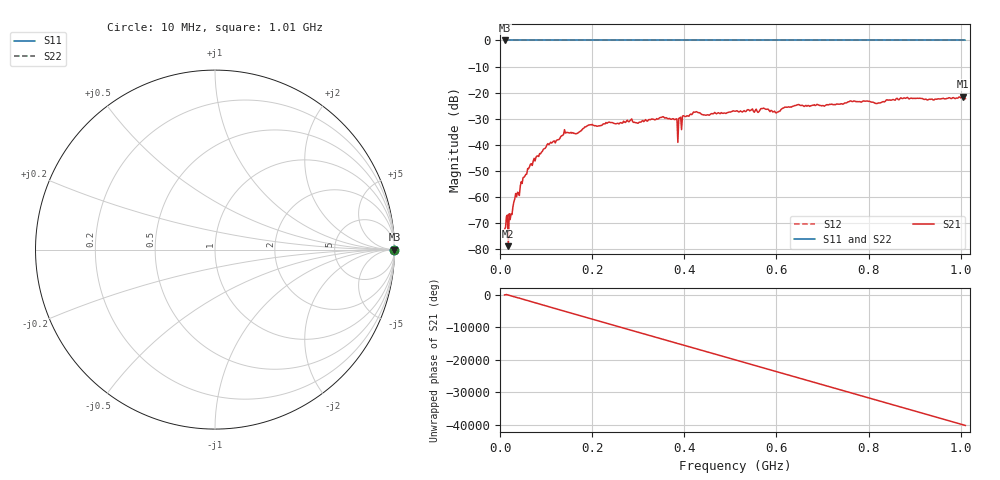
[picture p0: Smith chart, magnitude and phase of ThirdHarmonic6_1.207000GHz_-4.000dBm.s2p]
! 8/16/2025 12:32:34 PM
! C:\ANRITSUVNA\TEMP\TEMP.S2P
! CHANNEL.1
! TR.MEASUREMENT
! RAW.DATA
! RF.CORRECTION.OFF
! AVERAGING.OFF
! IF.BANDWIDTH: 5KHZ
! SWEEPTYPE:  FREQ.SWEEP(Linear)
! Reference Plane Port Info
! PORT:  PORT1  PORT2
! DISTANCE:  0  m  0  m
! TIME:  0  s  0  s
! PHASE.OFFSET:  0  deg.  0  deg.
! LOSS:  0  dB  0  dB
! REF.LOSS:  0  dB  0  dB
! REF.FREQ:  0  Hz  0  Hz
! Power Info
! POWER:  -20  dBm  -20  dBm
! EFF.POWER:  -20  dBm  -20  dBm
! SOURCE.ATTEN:  0  dB  0  dB
! TEST.ATTEN:  0  dB  0  dB
# GHZ S RI R 50.0
! FREQ.GHZ  S11RE  S11IM  S21RE  S21IM  S12RE  S12IM  S22RE  S22IM
!; PortSelection: Port_12
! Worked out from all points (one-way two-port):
!   501 points, 10 MHz to 1.01 GHz, reference 50 ohm
!   highest |S21| = -21.50 dB at 1.004 GHz (marker M1); lowest = -78.8 dB at 18 MHz (marker M2)
!   lowest |S11| = 0.0 dB at 10 MHz (marker M3)
!   |S11| at or under -10 dB: nowhere
!   |S22| runs from 0.0 to 0.0 dB; largest |S21 - S12| = 1.1
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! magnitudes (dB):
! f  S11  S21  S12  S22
! 10 MHz  0.0  -72.4  0.0  0.0
! 18 MHz  0.0  -78.8  0.0  0.0
! 22 MHz  0.0  -68.6  0.0  0.0
! 24 MHz  0.0  -66.4  0.0  0.0
! 32 MHz  0.0  -60.7  0.0  0.0
! 48 MHz  0.0  -54.8  0.0  0.0
! 76 MHz  0.0  -46.2  0.0  0.0
! 142 MHz  0.0  -35.5  0.0  0.0
! 178 MHz  0.0  -34.2  0.0  0.0
! 196 MHz  0.0  -32.3  0.0  0.0
! 344 MHz  0.0  -30.0  0.0  0.0
! 380 MHz  0.0  -30.3  0.0  0.0
! 382 MHz  0.0  -30.1  0.0  0.0
! 390 MHz  0.0  -29.7  0.0  0.0
! 400 MHz  0.0  -29.0  0.0  0.0
! 424 MHz  0.0  -27.4  0.0  0.0
! 510 MHz  0.0  -27.1  0.0  0.0
! 602 MHz  0.0  -27.4  0.0  0.0
! 678 MHz  0.0  -24.8  0.0  0.0
! 844 MHz  0.0  -22.8  0.0  0.0
! 1.004 GHz  0.0  -21.5  0.0  0.0
! 1.01 GHz  0.0  -22.3  0.0  0.0
